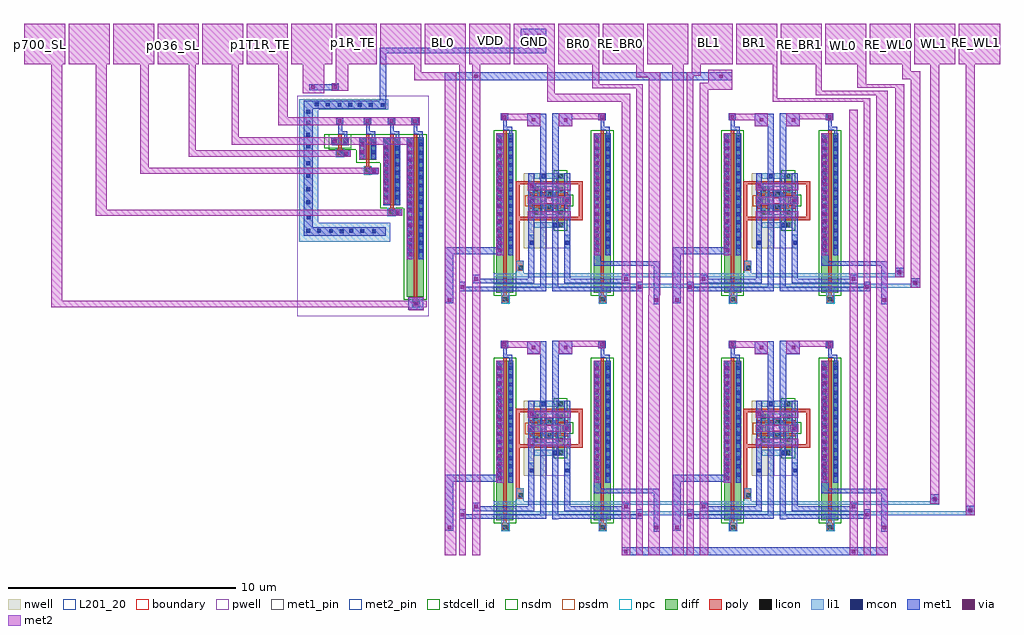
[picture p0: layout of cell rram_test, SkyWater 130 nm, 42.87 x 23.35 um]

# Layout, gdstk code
from math import pi, radians
import gdstk
lib = gdstk.Library(unit=1e-6, precision=1e-09)
def R(c, l, rs):  # rectangles x0, y0, x1, y1
    for r in rs: c.add(gdstk.rectangle(r[:2], r[2:], *l))
def A(c, l, x, y, w, h, nx, ny, dx, dy):  # array of equal rectangles
    R(c, l, [(x+i*dx, y+j*dy, x+i*dx+w, y+j*dy+h) for i in range(nx) for j in range(ny)])
def P(c, l, *ps):  # polygons
    for p in ps: c.add(gdstk.Polygon(p, *l))
nwell = (64, 20)
pwell = (64, 44)
diff = (65, 20)
poly = (66, 20)
licon = (66, 44)
li1 = (67, 20)
mcon = (67, 44)
met1_pin = (68, 16)
met1 = (68, 20)
via = (68, 44)
met2_pin = (69, 16)
met2 = (69, 20)
stdcell_id = (81, 4)
nsdm = (93, 44)
psdm = (94, 20)
npc = (95, 20)
L201_20 = (201, 20)
boundary = (235, 4)

c_1t1r_700u = lib.new_cell('1T1R_700U')
R(c_1t1r_700u, diff, [(-0.79,-13.45,-0.04,-6.45)])
R(c_1t1r_700u, poly, [(-0.53,-13.91,-0.26,-13.58), (-0.49,-13.58,-0.34,-6.31)])
R(c_1t1r_700u, licon, [(-0.48,-13.83,-0.31,-13.66), (-0.75,-6.705,-0.58,-6.535), (-0.25,-6.705,-0.08,-6.535)])
R(c_1t1r_700u, li1, [(-0.57,-13.91,-0.215,-13.625), (-0.75,-11.805,-0.58,-6.455), (-0.25,-11.805,-0.08,-6.455)])
A(c_1t1r_700u, mcon, -0.25, -11.525, 0.17, 0.17, 1, 14, 0, 0.36)
A(c_1t1r_700u, mcon, -0.75, -11.52, 0.17, 0.17, 1, 14, 0, 0.36)
R(c_1t1r_700u, met1_pin, [(-0.59,-5.855,-0.27,-5.595)])
R(c_1t1r_700u, met1, [(-0.795,-11.805,-0.475,-6.45), (-0.28,-11.805,-0.05,-6.475), (-0.235,-6.475,-0.095,-6.31), (-0.49,-6.31,-0.095,-6.17), (-0.49,-6.17,-0.33,-5.855), (-0.59,-5.855,-0.27,-5.595)])
A(c_1t1r_700u, via, -0.71, -11.66, 0.15, 0.15, 1, 16, 0, 0.32)
R(c_1t1r_700u, via, [(-0.505,-5.8,-0.355,-5.65)])
R(c_1t1r_700u, met2_pin, [(-0.56,-5.885,-0.3,-5.565)])
R(c_1t1r_700u, met2, [(-0.795,-11.8,-0.475,-6.45), (-0.56,-5.885,-0.3,-5.565)])
R(c_1t1r_700u, nsdm, [(-0.915,-13.575,0.085,-6.315)])
R(c_1t1r_700u, npc, [(-0.58,-13.93,-0.21,-13.56)])
R(c_1t1r_700u, L201_20, [(-0.59,-5.885,-0.27,-5.565)])
c_1t1r_700u.add(gdstk.Label('BE', (-0.43,-5.725), layer=68, texttype=16))
c_1t1r_700u.add(gdstk.Label('TE', (-0.43,-5.725), layer=69, texttype=16))
c_1t1r_700u.add(gdstk.Label('G', (-0.415,-6.62), layer=66, texttype=16))
c_1t1r_700u.add(gdstk.Label('S', (-0.665,-6.62), layer=67, texttype=16))
c_1t1r_700u.add(gdstk.Label('D', (-0.165,-6.62), layer=67, texttype=16))

cell_1rw = lib.new_cell('cell_1rw')
R(cell_1rw, nwell, [(-0.42,-0.88,0.56,1.52)])
R(cell_1rw, pwell, [(-1.47,-0.88,-0.42,1.52)])
R(cell_1rw, diff, [(-1.23,-0.88,-0.87,-0.31), (-1.26,-0.31,-0.84,0.2), (-0.24,-0.31,0.18,0.19), (-0.24,0.19,0.38,0.44), (-1.49,0.2,-0.84,0.45), (-0.24,0.44,0.18,0.95), (-1.26,0.45,-0.84,0.95), (-1.23,0.95,-0.87,1.52)])
R(cell_1rw, poly, [(-1.49,-0.54,0.38,-0.39), (-0.7,-0.09,-0.4,-0.04), (-1.39,-0.04,0.31,0.11), (-0.7,0.11,-0.4,0.21), (-0.73,0.43,-0.43,0.53), (-1.39,0.53,0.31,0.68), (-0.73,0.68,-0.43,0.73), (-1.49,1.03,0.38,1.18)])
R(cell_1rw, licon, [(-1.15,-0.84,-0.98,-0.67), (-1.15,-0.27,-0.98,-0.1), (-0.07,-0.27,0.1,-0.1), (-0.65,-0.04,-0.48,0.13), (0.13,0.23,0.3,0.4), (-1.41,0.24,-1.24,0.41), (-0.65,0.51,-0.48,0.68), (-1.15,0.74,-0.98,0.91), (-0.07,0.74,0.1,0.91), (-1.15,1.31,-0.98,1.48)])
R(cell_1rw, li1, [(-1.23,-0.88,0.11,-0.63), (-1.15,-0.46,0.1,-0.35), (-1.23,-0.35,0.18,-0.29), (-1.23,-0.29,-0.9,-0.02), (-0.07,-0.29,0.18,-0.02), (-0.73,-0.12,-0.4,-0.04), (-0.73,-0.04,-0.24,0.13), (-1.07,-0.02,-0.9,0.32), (-0.41,0.13,-0.24,0.16), (0.13,0.15,0.38,0.48), (-1.49,0.16,-1.24,0.49), (-0.41,0.16,-0.05,0.33), (-1.07,0.32,-0.64,0.49), (-0.22,0.33,-0.05,0.66), (-0.81,0.49,-0.64,0.51), (-0.81,0.51,-0.4,0.68), (-1.23,0.66,-0.98,0.93), (-0.22,0.66,0.18,0.93), (-0.73,0.68,-0.4,0.76), (-1.23,0.93,0.18,0.99), (-1.15,0.99,0.1,1.1), (-1.23,1.27,0.11,1.52)])
R(cell_1rw, mcon, [(-0.91,-0.84,-0.74,-0.67), (0.13,0.23,0.3,0.4), (-1.41,0.24,-1.24,0.41), (-0.37,1.31,-0.2,1.48)])
R(cell_1rw, met1, [(-1.47,-0.88,-1.21,0.16), (-0.97,-0.88,-0.68,-0.61), (-0.42,-0.88,-0.16,1.25), (0.1,-0.88,0.36,0.17), (-0.95,-0.61,-0.69,1.52), (-1.47,0.16,-1.15,0.48), (0.07,0.17,0.36,0.46), (0.1,0.46,0.36,0.78), (-1.47,0.48,-1.21,1.52), (0.04,0.78,0.36,1.1), (0.1,1.1,0.36,1.52), (-0.43,1.25,-0.14,1.52)])
R(cell_1rw, via, [(-1.385,0.245,-1.235,0.395), (0.125,0.865,0.275,1.015)])
A(cell_1rw, met2, -1.49, -0.46, 1.87, 0.32, 1, 3, 0, 0.62)
R(cell_1rw, stdcell_id, [(-1.23,-0.54,-0.87,-0.39), (-1.26,-0.04,-0.84,0.11), (-1.26,0.53,-0.84,0.68), (-1.23,1.03,-0.87,1.18)])
R(cell_1rw, nsdm, [(-1.355,-1.005,-0.745,-0.435), (-1.385,-0.435,-0.715,0.075), (-1.615,0.075,-0.715,0.575), (-1.385,0.575,-0.715,1.075), (-1.355,1.075,-0.745,1.645)])
R(cell_1rw, psdm, [(-0.365,-0.435,0.305,0.065), (-0.365,0.065,0.505,0.565), (-0.365,0.565,0.305,1.075)])
R(cell_1rw, npc, [(-0.75,-0.14,-0.38,0.78)])
cell_1rw.add(gdstk.Label('BL', (-0.2,1.4), layer=68, texttype=16))
cell_1rw.add(gdstk.Label('BR', (-0.91,-0.76), layer=68, texttype=16))
cell_1rw.add(gdstk.Label('VGND', (-1.49,0.32), layer=69, texttype=16))
cell_1rw.add(gdstk.Label('VPWR', (0.38,0.94), layer=69, texttype=16))
cell_1rw.add(gdstk.Label('WL', (-1.49,-0.47), layer=66, texttype=16))
cell_1rw.add(gdstk.Label('WL', (-1.49,1.11), layer=66, texttype=5))
cell_1rw.add(gdstk.Label('Q', (-0.98,0.71), layer=67, texttype=5))
cell_1rw.add(gdstk.Label('QB', (-0.07,-0.07), layer=67, texttype=5))
cell_1rw.add(gdstk.Label('VPB', (-0.04,-0.59), layer=64, texttype=16))
cell_1rw.add(gdstk.Label('VNB', (-1.48,-0.77), layer=122, texttype=16))

combined_cell = lib.new_cell('combined_cell')
R(combined_cell, nwell, [(-1.995,-7.695,-1.015,-6.81)])
R(combined_cell, pwell, [(-1.015,-7.695,0.035,-6.81)])
R(combined_cell, poly, [(-2.35,-8.7,-2.175,-4.75), (-2.315,-8.7,-2.005,-8.25), (-2.175,-6.47,-1.815,-6.32), (0.055,-6.47,0.41,-6.32), (0.41,-6.47,0.585,-4.75), (-2.175,-4.9,-1.815,-4.75), (0.055,-4.9,0.41,-4.75)])
R(combined_cell, licon, [(-2.215,-8.64,-2.045,-8.47), (-1.745,-7.55,-1.575,-7.38), (-0.17,-7.55,0,-7.38)])
R(combined_cell, li1, [(-2.98,-9.83,-2.625,-9.39), (1.295,-9.83,1.65,-9.39), (-3.325,-9.435,1.95,-9.265), (-3.325,-8.975,1.95,-8.805), (-2.32,-8.94,-2.005,-8.25), (-1.795,-7.695,-1.535,-7.115), (-0.22,-7.695,0.04,-7.115)])
R(combined_cell, mcon, [(-1.745,-7.55,-1.575,-7.38), (-1.745,-7.55,-1.575,-7.38), (-0.17,-7.55,0,-7.38)])
R(combined_cell, met1, [(3.705,-10.16,3.985,-8.475), (-5.465,-10.115,-5.1,-7.655), (-0.745,-9.6,-0.485,-6.55), (-4.825,-9.595,-4.55,-9.17), (-4.79,-9.595,-1.275,-9.39), (-1.275,-9.595,-1.015,-6.54), (-0.485,-9.595,2.95,-9.39), (2.95,-9.595,3.225,-9.17), (-4.27,-9.25,-3.91,-8.875), (-4.235,-9.25,-1.795,-9.045), (-1.795,-9.25,-1.535,-6.81), (-0.225,-9.25,0.035,-6.81), (0.035,-9.25,2.31,-9.045), (2.31,-9.25,2.67,-8.875), (1.07,-8.475,3.985,-8.27), (1.07,-8.27,1.39,-8.01), (-5.1,-7.97,-2.885,-7.655), (-1.795,-6.81,-1.535,-6.55), (-0.225,-6.81,0.035,-6.56), (-1.275,-4.41,-1.015,-1.785), (-0.755,-4.41,-0.465,-1.77), (-0.465,-2.35,0.135,-1.77), (-1.855,-2.345,-1.275,-1.785)])
R(combined_cell, via, [(-5.34,-10.045,-5.19,-9.895), (3.765,-10.045,3.915,-9.895), (-4.765,-9.485,-4.615,-9.335), (3.01,-9.485,3.16,-9.335), (-4.17,-9.13,-4.02,-8.98), (2.41,-9.13,2.56,-8.98), (-0.23,-2.145,-0.08,-1.995), (-1.64,-2.135,-1.49,-1.985)])
P(combined_cell, via, [(-5.2,-10),(-5.2,-9.885),(-5.2,-9.885),(-5.2,-10)],
  [(3.755,-10),(3.755,-9.885),(3.755,-9.885),(3.755,-10)])
R(combined_cell, met2, [(-5.475,-10.16,-4.97,-9.77), (3.48,-10.16,3.985,-9.77), (-4.83,-9.59,-4.54,-9.165), (2.945,-9.59,3.235,-9.165), (-4.27,-9.25,-3.905,-8.87), (2.31,-9.25,2.675,-8.87), (-1.855,-2.355,-1.285,-1.78), (-0.46,-2.345,0.13,-1.77), (-2.71,-2.07,-1.855,-1.79), (0.13,-2.04,1.305,-1.77)])
combined_cell.add(gdstk.Reference(c_1t1r_700u, (-2.41,3.795)))
combined_cell.add(gdstk.Reference(c_1t1r_700u, (1.865,3.795)))
combined_cell.add(gdstk.Reference(cell_1rw, (-1.435,-5.93), rotation=pi, x_reflection=True))
combined_cell.add(gdstk.Label('wl', (-2.24,-5.745), layer=66, texttype=20))
combined_cell.add(gdstk.Label('wl', (0.505,-5.7), layer=66, texttype=20))
combined_cell.add(gdstk.Label('re_wl', (-0.835,-9.355), layer=67, texttype=5))
combined_cell.add(gdstk.Label('wl', (-0.87,-8.905), layer=67, texttype=5))
combined_cell.add(gdstk.Label('re_bl', (-5.27,-9.985), layer=69, texttype=5))
combined_cell.add(gdstk.Label('re_br', (3.735,-9.985), layer=69, texttype=5))
combined_cell.add(gdstk.Label('gnd', (2.485,-9.04), layer=69, texttype=5))
combined_cell.add(gdstk.Label('br', (3.09,-9.41), layer=69, texttype=5))
combined_cell.add(gdstk.Label('vdd', (-4.08,-9.065), layer=69, texttype=5))
combined_cell.add(gdstk.Label('bl', (-4.685,-9.42), layer=69, texttype=5))

array = lib.new_cell('array')
R(array, li1, [(-3.325,-9.435,6.675,-9.265), (6.675,-9.435,11.95,-9.265), (-3.325,-8.975,6.675,-8.805), (6.675,-8.975,11.95,-8.805), (-3.325,0.565,6.675,0.735), (6.675,0.565,11.95,0.735), (-3.325,1.025,6.675,1.195), (6.675,1.025,11.95,1.195)])
R(array, met2, [(-5.475,-10.16,-4.97,-9.77), (3.48,-10.16,3.985,-9.77), (4.525,-10.16,5.03,-9.77), (13.48,-10.16,13.985,-9.77), (-5.475,-9.77,-4.97,0.23), (3.48,-9.77,3.985,0.23), (4.525,-9.77,5.03,0.23), (13.48,-9.77,13.985,0.23), (-4.83,-9.59,-4.54,-9.165), (2.945,-9.59,3.235,-9.165), (5.17,-9.59,5.46,-9.165), (12.945,-9.59,13.235,-9.165), (-4.27,-9.25,-3.905,-8.87), (2.31,-9.25,2.675,-8.87), (5.73,-9.25,6.095,-8.87), (12.31,-9.25,12.675,-8.87), (-4.83,-9.165,-4.54,0.835), (2.945,-9.165,3.235,0.835), (5.17,-9.165,5.46,0.835), (12.945,-9.165,13.235,0.835), (-4.27,-8.87,-3.905,1.13), (2.31,-8.87,2.675,1.13), (5.73,-8.87,6.095,1.13), (12.31,-8.87,12.675,1.13)])
array.add(gdstk.Reference(combined_cell, (0,10)))
array.add(gdstk.Reference(combined_cell, (0,0)))
array.add(gdstk.Reference(combined_cell, (10,10)))
array.add(gdstk.Reference(combined_cell, (10,0)))
array.add(gdstk.Label('wl0', (-1.015,1.115), layer=67, texttype=5))
array.add(gdstk.Label('re_wl0', (-1,0.65), layer=67, texttype=5))
array.add(gdstk.Label('re_wl1', (-0.955,-9.365), layer=67, texttype=5))
array.add(gdstk.Label('wl1', (-0.955,-8.89), layer=67, texttype=5))
array.add(gdstk.Label('re_bl0', (-5.255,0.02), layer=69, texttype=5))
array.add(gdstk.Label('bl0', (-4.69,0.59), layer=69, texttype=5))
array.add(gdstk.Label('vdd', (-4.1,0.945), layer=69, texttype=5))
array.add(gdstk.Label('gnd', (2.5,0.955), layer=69, texttype=5))
array.add(gdstk.Label('br0', (3.075,0.625), layer=69, texttype=5))
array.add(gdstk.Label('re_br0', (3.735,0.01), layer=69, texttype=5))
array.add(gdstk.Label('re_bl1', (4.77,0.045), layer=69, texttype=5))
array.add(gdstk.Label('bl1', (5.325,0.6), layer=69, texttype=5))
array.add(gdstk.Label('vdd', (5.915,0.945), layer=69, texttype=5))
array.add(gdstk.Label('gnd', (12.485,0.945), layer=69, texttype=5))
array.add(gdstk.Label('br1', (13.08,0.595), layer=69, texttype=5))
array.add(gdstk.Label('re_br1', (13.74,0.03), layer=69, texttype=5))

c_1t1r_300u = lib.new_cell('1T1R_300U')
R(c_1t1r_300u, diff, [(-0.79,-9.44,-0.04,-6.44)])
R(c_1t1r_300u, poly, [(-0.555,-9.9,-0.285,-9.57), (-0.49,-9.57,-0.34,-6.31)])
R(c_1t1r_300u, licon, [(-0.505,-9.82,-0.335,-9.65), (-0.75,-6.705,-0.58,-6.535), (-0.25,-6.705,-0.08,-6.535)])
R(c_1t1r_300u, li1, [(-0.585,-9.9,-0.025,-9.615), (-0.75,-9.44,-0.58,-6.455), (-0.25,-9.44,-0.08,-6.455)])
A(c_1t1r_300u, mcon, -0.75, -9.165, 0.17, 0.17, 1, 7, 0, 0.36)
A(c_1t1r_300u, mcon, -0.25, -9.165, 0.17, 0.17, 1, 7, 0, 0.36)
R(c_1t1r_300u, mcon, [(-0.25,-9.85,-0.08,-9.68)])
R(c_1t1r_300u, met1_pin, [(-0.59,-5.855,-0.27,-5.595)])
R(c_1t1r_300u, met1, [(-0.385,-9.9,0.05,-9.615), (-0.795,-9.44,-0.475,-6.45), (-0.28,-9.44,-0.05,-6.475), (-0.235,-6.475,-0.095,-6.31), (-0.49,-6.31,-0.095,-6.17), (-0.49,-6.17,-0.33,-5.855), (-0.59,-5.855,-0.27,-5.595)])
A(c_1t1r_300u, via, -0.71, -9.18, 0.15, 0.15, 1, 8, 0, 0.32)
R(c_1t1r_300u, via, [(-0.245,-9.82,-0.095,-9.67), (-0.505,-5.8,-0.355,-5.65)])
R(c_1t1r_300u, met2_pin, [(-0.56,-5.885,-0.3,-5.565)])
R(c_1t1r_300u, met2, [(-0.385,-9.875,0.05,-9.615), (-0.795,-9.37,-0.475,-6.45), (-0.56,-5.885,-0.3,-5.565)])
R(c_1t1r_300u, nsdm, [(-0.915,-9.565,0.085,-6.315)])
R(c_1t1r_300u, npc, [(-0.605,-9.92,-0.235,-9.55)])
R(c_1t1r_300u, L201_20, [(-0.59,-5.885,-0.27,-5.565)])
c_1t1r_300u.add(gdstk.Label('BE', (-0.43,-5.725), layer=68, texttype=16))
c_1t1r_300u.add(gdstk.Label('wl', (-0.17,-9.76), layer=69, texttype=16))
c_1t1r_300u.add(gdstk.Label('TE', (-0.43,-5.725), layer=69, texttype=16))
c_1t1r_300u.add(gdstk.Label('G', (-0.415,-6.62), layer=66, texttype=16))
c_1t1r_300u.add(gdstk.Label('S', (-0.665,-6.62), layer=67, texttype=16))
c_1t1r_300u.add(gdstk.Label('D', (-0.165,-6.62), layer=67, texttype=16))

c_1t1r_100u = lib.new_cell('1T1R_100U')
R(c_1t1r_100u, diff, [(-0.79,-7.44,-0.04,-6.44)])
R(c_1t1r_100u, poly, [(-0.55,-8.065,-0.28,-7.735), (-0.49,-7.735,-0.34,-6.31)])
R(c_1t1r_100u, licon, [(-0.5,-7.985,-0.33,-7.815), (-0.75,-6.705,-0.58,-6.535), (-0.25,-6.705,-0.08,-6.535)])
R(c_1t1r_100u, li1, [(-0.58,-8.065,-0.02,-7.78), (-0.75,-7.405,-0.58,-6.455), (-0.25,-7.405,-0.08,-6.455)])
R(c_1t1r_100u, mcon, [(-0.245,-8.015,-0.075,-7.845), (-0.25,-7.19,-0.08,-7.02), (-0.75,-7.185,-0.58,-7.015), (-0.25,-6.83,-0.08,-6.66), (-0.75,-6.825,-0.58,-6.655)])
R(c_1t1r_100u, met1_pin, [(-0.59,-5.855,-0.27,-5.595)])
R(c_1t1r_100u, met1, [(-0.38,-8.065,0.055,-7.78), (-0.795,-7.41,-0.475,-6.45), (-0.28,-7.41,-0.05,-6.475), (-0.235,-6.475,-0.095,-6.31), (-0.49,-6.31,-0.095,-6.17), (-0.49,-6.17,-0.33,-5.855), (-0.59,-5.855,-0.27,-5.595)])
R(c_1t1r_100u, via, [(-0.24,-7.985,-0.09,-7.835), (-0.71,-7.155,-0.56,-7.005), (-0.71,-6.835,-0.56,-6.685), (-0.505,-5.8,-0.355,-5.65)])
R(c_1t1r_100u, met2_pin, [(-0.56,-5.885,-0.3,-5.565)])
R(c_1t1r_100u, met2, [(-0.38,-8.04,0.055,-7.78), (-0.795,-7.41,-0.475,-6.45), (-0.56,-5.885,-0.3,-5.565)])
R(c_1t1r_100u, nsdm, [(-0.915,-7.565,0.085,-6.315)])
R(c_1t1r_100u, npc, [(-0.6,-8.085,-0.23,-7.715)])
R(c_1t1r_100u, L201_20, [(-0.59,-5.885,-0.27,-5.565)])
c_1t1r_100u.add(gdstk.Label('BE', (-0.43,-5.725), layer=68, texttype=16))
c_1t1r_100u.add(gdstk.Label('wl', (-0.165,-7.925), layer=69, texttype=16))
c_1t1r_100u.add(gdstk.Label('TE', (-0.43,-5.725), layer=69, texttype=16))
c_1t1r_100u.add(gdstk.Label('G', (-0.415,-6.62), layer=66, texttype=16))
c_1t1r_100u.add(gdstk.Label('S', (-0.665,-6.62), layer=67, texttype=16))
c_1t1r_100u.add(gdstk.Label('D', (-0.165,-6.62), layer=67, texttype=16))

c_1t1r_036u = lib.new_cell('1T1R_036U')
R(c_1t1r_036u, diff, [(-0.79,-6.8,-0.04,-6.44)])
R(c_1t1r_036u, poly, [(-0.55,-7.3,-0.28,-6.97), (-0.49,-6.97,-0.34,-6.31)])
R(c_1t1r_036u, licon, [(-0.5,-7.22,-0.33,-7.05), (-0.75,-6.705,-0.58,-6.535), (-0.25,-6.705,-0.08,-6.535)])
R(c_1t1r_036u, li1, [(-0.58,-7.3,-0.02,-7.015), (-0.75,-6.785,-0.58,-6.455), (-0.25,-6.785,-0.08,-6.455)])
R(c_1t1r_036u, mcon, [(-0.245,-7.25,-0.075,-7.08), (-0.75,-6.705,-0.58,-6.535), (-0.25,-6.705,-0.08,-6.535)])
R(c_1t1r_036u, met1_pin, [(-0.59,-5.855,-0.27,-5.595)])
R(c_1t1r_036u, met1, [(-0.38,-7.3,0.055,-7.015), (-0.28,-6.785,-0.05,-6.475), (-0.795,-6.77,-0.475,-6.45), (-0.235,-6.475,-0.095,-6.31), (-0.49,-6.31,-0.095,-6.17), (-0.49,-6.17,-0.33,-5.855), (-0.59,-5.855,-0.27,-5.595)])
R(c_1t1r_036u, via, [(-0.24,-7.22,-0.09,-7.07), (-0.71,-6.685,-0.56,-6.535), (-0.505,-5.8,-0.355,-5.65)])
R(c_1t1r_036u, met2_pin, [(-0.56,-5.885,-0.3,-5.565)])
R(c_1t1r_036u, met2, [(-0.38,-7.275,0.055,-7.015), (-0.795,-6.77,-0.475,-6.45), (-0.56,-5.885,-0.3,-5.565)])
R(c_1t1r_036u, stdcell_id, [(-0.915,-6.93,0.085,-6.31)])
R(c_1t1r_036u, nsdm, [(-0.915,-6.985,0.085,-6.315)])
R(c_1t1r_036u, npc, [(-0.6,-7.32,-0.23,-6.95)])
R(c_1t1r_036u, L201_20, [(-0.59,-5.885,-0.27,-5.565)])
R(c_1t1r_036u, boundary, [(-0.915,-6.93,0.085,-6.31)])
c_1t1r_036u.add(gdstk.Label('BE', (-0.43,-5.725), layer=68, texttype=16))
c_1t1r_036u.add(gdstk.Label('wl', (-0.165,-7.16), layer=69, texttype=16))
c_1t1r_036u.add(gdstk.Label('TE', (-0.43,-5.725), layer=69, texttype=16))
c_1t1r_036u.add(gdstk.Label('G', (-0.415,-6.62), layer=66, texttype=16))
c_1t1r_036u.add(gdstk.Label('S', (-0.665,-6.62), layer=67, texttype=16))
c_1t1r_036u.add(gdstk.Label('D', (-0.165,-6.62), layer=67, texttype=16))

c_1r = lib.new_cell('1R')
R(c_1r, met1_pin, [(1.205,9.795,1.525,10.055)])
R(c_1r, met1, [(1.205,9.795,1.525,10.055)])
R(c_1r, via, [(1.29,9.85,1.44,10)])
R(c_1r, met2_pin, [(1.235,9.765,1.495,10.085)])
R(c_1r, met2, [(1.235,9.765,1.495,10.085)])
R(c_1r, L201_20, [(1.205,9.765,1.525,10.085)])
c_1r.add(gdstk.Label('BE', (1.365,9.925), layer=68, texttype=16))
c_1r.add(gdstk.Label('TE', (1.365,9.925), layer=69, texttype=16))

rram_test = lib.new_cell('rram_test')
R(rram_test, pwell, [(-0.995,-5.5,4.795,4.195)])
R(rram_test, licon, [(2.3,-1.85,2.47,-1.68), (0.88,-1.845,1.05,-1.675), (0.41,-1.84,0.58,-1.67), (1.775,-1.84,1.945,-1.67), (1.305,-1.835,1.475,-1.665), (-0.115,-1.83,0.055,-1.66), (-0.585,-1.825,-0.415,-1.655), (-0.575,-1.23,-0.405,-1.06), (-0.595,-0.57,-0.425,-0.4), (-0.595,-0.005,-0.425,0.165), (-0.585,0.59,-0.415,0.76), (-0.595,1.13,-0.425,1.3), (-0.595,1.87,-0.425,2.04), (-0.6,2.385,-0.43,2.555), (-0.59,2.92,-0.42,3.09), (-0.59,3.39,-0.42,3.56), (2.675,3.695,2.845,3.865), (1.255,3.7,1.425,3.87), (0.785,3.705,0.955,3.875), (2.15,3.705,2.32,3.875), (1.68,3.71,1.85,3.88), (0.26,3.715,0.43,3.885), (-0.21,3.72,-0.04,3.89)])
R(rram_test, li1, [(22.91,-14.245,28.78,-14.075), (28.38,-14.075,28.78,-13.825), (22.91,-13.785,27.22,-13.615), (26.82,-13.615,27.22,-13.325), (22.91,-4.245,26.37,-4.075), (25.97,-4.075,26.37,-3.825), (22.91,-3.785,25.67,-3.615), (25.27,-3.615,25.67,-3.365), (-0.895,-2.23,-0.065,4.025), (-0.065,-2.23,3.095,-1.395), (-0.065,3.565,3.01,4.025)])
R(rram_test, mcon, [(28.485,-14.12,28.655,-13.95), (26.925,-13.62,27.095,-13.45), (4.135,-5.025,4.305,-4.855), (26.075,-4.12,26.245,-3.95), (25.375,-3.66,25.545,-3.49), (2.3,-1.85,2.47,-1.68), (0.88,-1.845,1.05,-1.675), (0.41,-1.84,0.58,-1.67), (1.775,-1.84,1.945,-1.67), (1.305,-1.835,1.475,-1.665), (-0.115,-1.83,0.055,-1.66), (-0.585,-1.825,-0.415,-1.655), (-0.575,-1.23,-0.405,-1.06), (-0.595,-0.57,-0.425,-0.4), (-0.595,-0.005,-0.425,0.165), (-0.585,0.59,-0.415,0.76), (-0.595,1.13,-0.425,1.3), (-0.595,1.87,-0.425,2.04), (-0.6,2.385,-0.43,2.555), (-0.59,2.92,-0.42,3.09), (-0.59,3.39,-0.42,3.56), (2.675,3.695,2.845,3.865), (1.255,3.7,1.425,3.87), (0.785,3.705,0.955,3.875), (2.15,3.705,2.32,3.875), (1.68,3.71,1.85,3.88), (0.26,3.715,0.43,3.885), (-0.21,3.72,-0.04,3.89)])
R(rram_test, met1, [(13.27,-16,24.94,-15.655), (28.38,-14.245,28.78,-13.825), (26.82,-13.745,27.22,-13.325), (3.89,-5.225,4.555,-4.655), (25.97,-4.245,26.37,-3.825), (25.27,-3.785,25.67,-3.365), (-0.7,-1.96,-0.31,3.67), (-0.31,-1.96,2.895,-1.595), (-0.7,3.625,2.645,3.965), (2.645,3.625,2.92,6.06), (-0.46,4.435,0.52,4.695), (5.485,4.875,18.11,5.22), (2.645,6.06,8.82,6.285), (8.82,6.06,9.95,7.125)])
R(rram_test, via, [(13.365,-15.915,13.515,-15.765), (23.375,-15.91,23.525,-15.76), (28.51,-14.105,28.66,-13.955), (26.95,-13.605,27.1,-13.455), (4.14,-5.01,4.29,-4.86), (26.1,-4.105,26.25,-3.955), (25.4,-3.645,25.55,-3.495), (-0.365,4.49,-0.215,4.64), (6.785,4.965,6.935,5.115), (17.55,4.965,17.7,5.115), (9.555,6.26,9.705,6.41), (9.02,6.265,9.17,6.415), (9.015,6.76,9.165,6.91), (9.555,6.76,9.705,6.91)])
A(rram_test, met2, -12.99, 5.57, 1.815, 1.78, 22, 1, 1.955, 0)
R(rram_test, met2, [(5.485,-16,5.99,-14.97), (6.13,-16,6.42,-14.4), (6.69,-16,7.055,-14.06), (13.27,-16,13.635,-14.06), (13.905,-16,14.195,-14.4), (14.435,-16,14.94,-14.97), (15.485,-16,15.99,-14.97), (16.13,-16,16.42,-14.4), (16.69,-16,17.055,-14.06), (23.27,-16,23.635,-14.06), (23.905,-16,24.195,-14.4), (24.435,-16,24.94,-14.97), (28.38,-14.245,28.78,5.57), (26.82,-13.745,27.22,5.57), (3.9,-5.23,4.56,-4.655), (-11.795,-5.1,-11.32,5.57), (-11.32,-5.1,4.71,-4.81), (5.485,-4.58,5.99,5.22), (14.445,-4.58,14.95,5.22), (15.48,-4.58,15.985,5.22), (24.44,-4.58,24.945,4.395), (25.97,-4.245,26.37,5.27), (6.13,-3.975,6.42,5.57), (13.905,-3.975,14.195,4.7), (16.125,-3.975,16.415,5.22), (23.9,-3.975,24.19,4.07), (25.27,-3.785,25.67,4.695), (6.69,-3.68,7.055,5.22), (13.27,-3.68,13.635,4.265), (16.685,-3.68,17.055,4.76), (23.265,-3.68,23.63,3.57), (-9.84,-1.085,-9.365,5.57), (-9.365,-1.085,3.63,-0.815), (-7.885,0.755,-7.51,5.57), (-7.51,0.755,2.59,1.03), (-5.76,1.515,-5.455,5.57), (-5.455,1.515,-0.365,1.79), (-0.365,1.515,1.37,1.79), (-3.86,2.035,4.14,2.355), (-3.86,2.355,-3.56,5.57), (-1.815,2.9,-0.375,3.245), (-0.375,2.9,4.39,3.245), (-1.815,3.245,-1.4,5.57), (10,3.92,10.33,5.57), (10.33,3.92,13.27,4.265), (19.89,3.925,23.9,4.07), (19.89,4.07,20.105,5.57), (21.795,4.21,24.44,4.395), (-0.75,4.3,0.195,4.81), (21.795,4.395,22.06,5.57), (0.81,4.405,1.25,4.725), (17.055,4.45,18.11,5.32), (11.975,4.515,13.905,4.7), (23.605,4.535,25.27,4.695), (23.605,4.695,24.01,5.57), (11.975,4.7,12.285,5.57), (0.695,4.725,1.25,5.57), (-0.75,4.81,0.195,5.57), (4.15,4.865,5.485,5.22), (25.59,4.91,25.97,5.57), (13.91,4.99,14.445,5.22), (16.415,5.055,16.735,5.22), (4.15,5.22,4.465,5.57), (6.69,5.22,7.055,5.57), (13.91,5.22,14.24,5.57), (15.48,5.22,15.985,5.57), (16.335,5.22,16.735,5.57)])
R(rram_test, nsdm, [(3.665,-0.76,3.7,2.49), (2.61,1.24,2.665,2.49), (1.395,1.82,1.61,2.49), (0.195,1.88,0.395,2.49)])
rram_test.add(gdstk.Reference(array, (10.96,-4.81)))
rram_test.add(gdstk.Reference(c_1t1r_700u, (4.615,8.805)))
rram_test.add(gdstk.Reference(c_1t1r_300u, (3.58,8.805)))
rram_test.add(gdstk.Reference(c_1t1r_100u, (2.525,8.805)))
rram_test.add(gdstk.Reference(c_1t1r_036u, (1.31,8.805)))
rram_test.add(gdstk.Reference(c_1r, (-0.685,-5.36)))
rram_test.add(gdstk.Label('RE_BR0', (13.19,6.48), layer=69, texttype=5))
rram_test.add(gdstk.Label('WL0', (22.995,6.41), layer=69, texttype=5))
rram_test.add(gdstk.Label('WL1', (27.005,6.48), layer=69, texttype=5))
rram_test.add(gdstk.Label('RE_WL0', (25.005,6.42), layer=69, texttype=5))
rram_test.add(gdstk.Label('RE_WL1', (28.865,6.525), layer=69, texttype=5))
rram_test.add(gdstk.Label('VDD', (7.52,6.615), layer=69, texttype=5))
rram_test.add(gdstk.Label('p036_SL', (-6.405,6.385), layer=69, texttype=5))
rram_test.add(gdstk.Label('p700_SL', (-12.265,6.445), layer=69, texttype=5))
rram_test.add(gdstk.Label('p300_SL', (-10.265,6.46), layer=69, texttype=5))
rram_test.add(gdstk.Label('p100_SL', (-8.46,6.45), layer=69, texttype=5))
rram_test.add(gdstk.Label('p1T1R_WL', (-4.31,6.51), layer=69, texttype=5))
rram_test.add(gdstk.Label('p1T1R_TE', (-2.605,6.435), layer=69, texttype=5))
rram_test.add(gdstk.Label('p1R_SL', (-0.425,6.51), layer=69, texttype=5))
rram_test.add(gdstk.Label('p1R_TE', (1.5,6.51), layer=69, texttype=5))
rram_test.add(gdstk.Label('RE_BL0', (3.495,6.445), layer=69, texttype=5))
rram_test.add(gdstk.Label('BL0', (5.445,6.53), layer=69, texttype=5))
rram_test.add(gdstk.Label('GND', (9.415,6.585), layer=69, texttype=5))
rram_test.add(gdstk.Label('BR0', (11.365,6.5), layer=69, texttype=5))
rram_test.add(gdstk.Label('RE_BL1', (15.195,6.555), layer=69, texttype=5))
rram_test.add(gdstk.Label('BL1', (17.12,6.535), layer=69, texttype=5))
rram_test.add(gdstk.Label('RE_BR1', (21.07,6.435), layer=69, texttype=5))
rram_test.add(gdstk.Label('BR1', (19.115,6.52), layer=69, texttype=5))

lib.write_gds('rram_test.gds')
